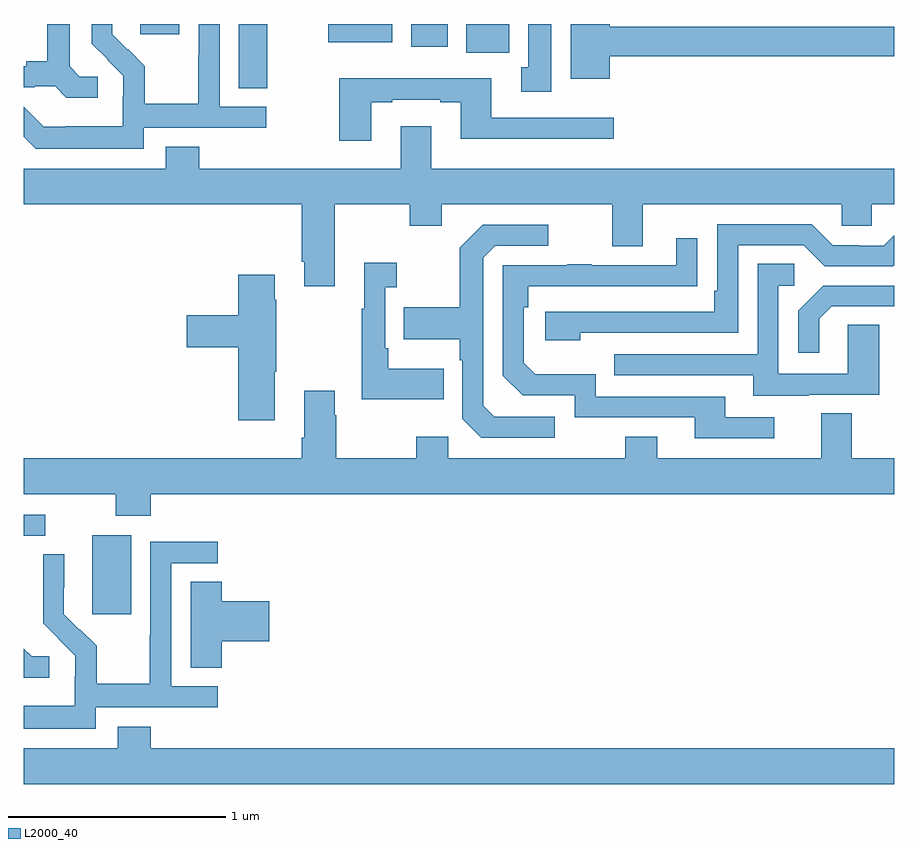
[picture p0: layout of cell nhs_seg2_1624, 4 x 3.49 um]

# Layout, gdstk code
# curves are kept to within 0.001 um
import gdstk
lib = gdstk.Library(unit=1e-6, precision=1e-09)
def R(c, l, rs):  # rectangles x0, y0, x1, y1
    for r in rs: c.add(gdstk.rectangle(r[:2], r[2:], *l))
def P(c, l, *ps):  # polygons
    for p in ps: c.add(gdstk.Polygon(p, *l))
L2000_40 = (2000, 40)

nhs_seg2_1624 = lib.new_cell('nhs_seg2_1624')
R(nhs_seg2_1624, L2000_40, [(195.314,643.089,195.493,643.45), (195,643.449,195.1,643.545), (195.989,645.505,196.12,645.8), (197.033,645.668,197.23,645.8), (196.781,645.696,196.948,645.8), (196.4,645.716,196.693,645.8), (195.536,645.753,195.715,645.8)])
P(nhs_seg2_1624, L2000_40, [(195.552,645.324),(196.114,645.324),(196.114,645.42),(195.9,645.42),(195.9,645.8),(195.804,645.8),(195.804,645.656),(195.802,645.656),(195.802,645.433),(195.557,645.433),(195.557,645.607),(195.48,645.684),(195.477,645.681),(195.407,645.752),(195.407,645.8),(195.312,645.8),(195.312,645.71),(195.458,645.562),(195.458,645.465),(195.456,645.465),(195.456,645.331),(195.193,645.331),(195.193,645.327),(195.093,645.327),(195,645.42),(195,645.282),(195.055,645.227),(195.552,645.227)],
  [(195.34,645.558),(195.258,645.558),(195.211,645.605),(195.211,645.8),(195.107,645.8),(195.107,645.629),(195.011,645.629),(195.011,645.606),(195,645.606),(195,645.51),(195.05,645.51),(195.05,645.513),(195.144,645.513),(195.196,645.461),(195.34,645.461)],
  [(197.692,645.652),(199,645.652),(199,645.788),(197.692,645.788),(197.692,645.8),(197.513,645.8),(197.513,645.548),(197.692,645.548)],
  [(197.425,645.8),(197.318,645.8),(197.318,645.602),(197.285,645.602),(197.285,645.489),(197.425,645.489)],
  [(196.597,645.441),(196.693,645.441),(196.693,645.453),(196.913,645.453),(196.913,645.441),(197.009,645.441),(197.009,645.272),(197.71,645.272),(197.71,645.369),(197.149,645.369),(197.149,645.55),(196.45,645.55),(196.45,645.264),(196.597,645.264)],
  [(196.429,644.972),(196.774,644.972),(196.774,644.873),(196.921,644.873),(196.921,644.972),(197.705,644.972),(197.705,644.778),(197.845,644.778),(197.845,644.972),(198.759,644.972),(198.759,644.874),(198.897,644.874),(198.897,644.972),(199,644.972),(199,645.136),(196.873,645.136),(196.873,645.331),(196.733,645.331),(196.733,645.136),(195.806,645.136),(195.806,645.235),(195.653,645.235),(195.653,645.136),(195,645.136),(195,644.972),(196.277,644.972),(196.277,644.707),(196.289,644.707),(196.289,644.595),(196.429,644.595)],
  [(197.558,644.382),(198.282,644.382),(198.282,644.784),(198.585,644.784),(198.681,644.688),(198.996,644.688),(199,644.692),(199,644.83),(198.951,644.781),(198.836,644.781),(198.836,644.784),(198.717,644.784),(198.621,644.88),(198.186,644.88),(198.186,644.575),(198.173,644.575),(198.173,644.478),(197.397,644.478),(197.397,644.348),(197.558,644.348)],
  [(197.44,643.995),(197.163,643.995),(197.112,644.046),(197.112,644.727),(197.166,644.781),(197.41,644.781),(197.41,644.877),(197.109,644.877),(197.004,644.771),(197.004,644.499),(196.747,644.499),(196.747,644.351),(197.004,644.351),(197.004,644.255),(197.016,644.255),(197.016,643.986),(197.103,643.899),(197.44,643.899)],
  [(198.448,643.992),(198.223,643.992),(198.223,644.088),(197.628,644.088),(197.628,644.191),(197.351,644.191),(197.298,644.244),(197.298,644.498),(197.318,644.498),(197.318,644.595),(198.095,644.596),(198.095,644.815),(197.999,644.815),(197.999,644.691),(197.609,644.691),(197.609,644.696),(197.497,644.696),(197.497,644.691),(197.202,644.691),(197.202,644.184),(197.292,644.094),(197.532,644.094),(197.532,643.992),(198.083,643.992),(198.083,643.896),(198.448,643.896)],
  [(196.931,644.215),(196.675,644.215),(196.675,644.311),(196.662,644.311),(196.662,644.591),(196.714,644.591),(196.714,644.704),(196.565,644.704),(196.565,644.491),(196.554,644.491),(196.554,644.075),(196.931,644.075)],
  [(198.607,644.097),(198.931,644.097),(198.931,644.417),(198.786,644.417),(198.786,644.193),(198.468,644.193),(198.468,644.598),(198.541,644.598),(198.541,644.699),(198.372,644.699),(198.372,644.283),(197.713,644.283),(197.713,644.187),(198.353,644.187),(198.353,644.093),(198.607,644.093)],
  [(196.153,644.203),(196.161,644.203),(196.161,644.534),(196.153,644.534),(196.153,644.647),(195.986,644.647),(195.986,644.462),(195.75,644.462),(195.75,644.315),(195.986,644.315),(195.986,643.98),(196.153,643.98)],
  [(198.655,644.445),(198.712,644.502),(199,644.502),(199,644.598),(198.674,644.598),(198.558,644.482),(198.558,644.289),(198.655,644.289)],
  [(195.584,643.64),(199,643.64),(199,643.804),(198.805,643.804),(198.805,644.012),(198.665,644.012),(198.665,643.804),(197.911,643.804),(197.911,643.903),(197.764,643.903),(197.764,643.804),(196.95,643.804),(196.95,643.903),(196.804,643.903),(196.804,643.804),(196.437,643.804),(196.437,644.003),(196.429,644.003),(196.429,644.116),(196.289,644.116),(196.289,643.9),(196.277,643.9),(196.277,643.804),(195,643.804),(195,643.64),(195.424,643.64),(195.424,643.541),(195.584,643.541)],
  [(195.33,642.66),(195.892,642.66),(195.892,642.756),(195.678,642.756),(195.678,643.323),(195.892,643.323),(195.892,643.422),(195.582,643.422),(195.582,642.992),(195.58,642.992),(195.58,642.769),(195.335,642.769),(195.335,642.943),(195.258,643.02),(195.255,643.017),(195.185,643.088),(195.186,643.364),(195.09,643.364),(195.09,643.046),(195.236,642.898),(195.236,642.801),(195.234,642.801),(195.234,642.667),(195,642.667),(195,642.563),(195.33,642.563)],
  [(195.911,642.965),(196.129,642.965),(196.129,643.148),(195.911,643.148),(195.911,643.238),(195.767,643.238),(195.767,642.841),(195.911,642.841)],
  [(195.118,642.894),(195.036,642.894),(195,642.93),(195,642.797),(195.118,642.797)],
  [(199,642.472),(195.584,642.472),(195.584,642.571),(195.431,642.571),(195.431,642.472),(195,642.472),(195,642.308),(199,642.308)])

lib.write_gds('nhs_seg2_1624.gds')
